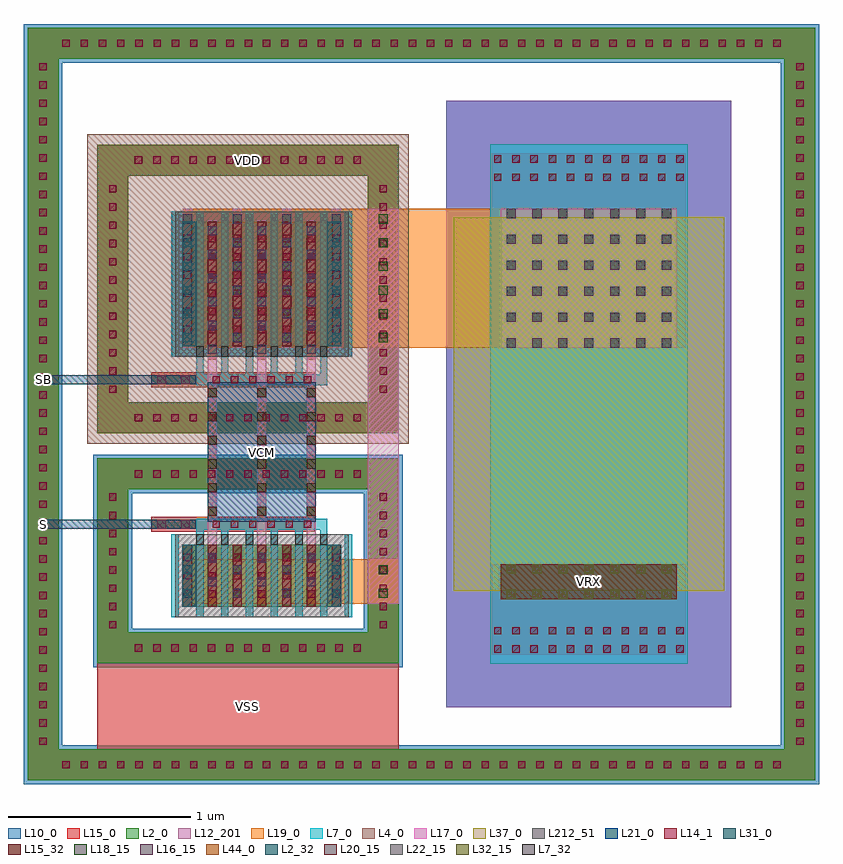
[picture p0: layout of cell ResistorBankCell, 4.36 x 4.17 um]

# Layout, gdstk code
import gdstk
lib = gdstk.Library(unit=1e-6, precision=1e-09)
def R(c, l, rs):  # rectangles x0, y0, x1, y1
    for r in rs: c.add(gdstk.rectangle(r[:2], r[2:], *l))
def A(c, l, x, y, w, h, nx, ny, dx, dy):  # array of equal rectangles
    R(c, l, [(x+i*dx, y+j*dy, x+i*dx+w, y+j*dy+h) for i in range(nx) for j in range(ny)])
L2_0 = (2, 0)
L2_32 = (2, 32)
L4_0 = (4, 0)
L7_0 = (7, 0)
L7_32 = (7, 32)
L10_0 = (10, 0)
L12_201 = (12, 201)
L14_1 = (14, 1)
L15_0 = (15, 0)
L15_32 = (15, 32)
L16_15 = (16, 15)
L17_0 = (17, 0)
L18_15 = (18, 15)
L19_0 = (19, 0)
L20_15 = (20, 15)
L21_0 = (21, 0)
L22_15 = (22, 15)
L31_0 = (31, 0)
L32_15 = (32, 15)
L37_0 = (37, 0)
L44_0 = (44, 0)
L212_51 = (212, 51)

nmosintransmissiongate = lib.new_cell('NMOSInTransmissionGate')
R(nmosintransmissiongate, L2_0, [(-0.436,-0.171,0.436,0.171)])
R(nmosintransmissiongate, L2_32, [(-0.436,-0.171,-0.36,0.171), (0.36,-0.171,0.436,0.171)])
A(nmosintransmissiongate, L7_0, -0.496, -0.228, 0.04, 0.456, 8, 1, 0.136, 0)
A(nmosintransmissiongate, L7_32, -0.36, -0.228, 0.04, 0.057, 6, 1, 0.136, 0)
A(nmosintransmissiongate, L14_1, -0.428, -0.12, 0.04, 0.04, 7, 3, 0.136, 0.1)
A(nmosintransmissiongate, L15_0, -0.433, -0.171, 0.05, 0.342, 7, 1, 0.136, 0)
A(nmosintransmissiongate, L15_32, -0.433, -0.171, 0.05, 0.342, 7, 1, 0.136, 0)
R(nmosintransmissiongate, L212_51, [(-0.476,-0.227,0.476,0.227)])

pmosintransmissiongate = lib.new_cell('PMOSInTransmissionGate')
R(pmosintransmissiongate, L2_0, [(-0.436,-0.342,0.436,0.342)])
R(pmosintransmissiongate, L2_32, [(-0.436,-0.342,-0.36,0.342), (0.36,-0.342,0.436,0.342)])
A(pmosintransmissiongate, L7_0, -0.496, -0.399, 0.04, 0.798, 8, 1, 0.136, 0)
A(pmosintransmissiongate, L7_32, -0.36, -0.399, 0.04, 0.057, 6, 1, 0.136, 0)
R(pmosintransmissiongate, L10_0, [(-0.492,-0.399,0.492,0.399)])
A(pmosintransmissiongate, L14_1, -0.428, -0.27, 0.04, 0.04, 7, 6, 0.136, 0.1)
A(pmosintransmissiongate, L15_0, -0.433, -0.342, 0.05, 0.684, 7, 1, 0.136, 0)
A(pmosintransmissiongate, L15_32, -0.433, -0.342, 0.05, 0.684, 7, 1, 0.136, 0)
R(pmosintransmissiongate, L212_51, [(-0.476,-0.398,0.476,0.398)])

viamet12met2onpmosoutput = lib.new_cell('ViaMet12Met2OnPMOSOutputInTransmissionGate')
R(viamet12met2onpmosoutput, L15_0, [(-0.025,-0.382,0.025,0.382)])
A(viamet12met2onpmosoutput, L16_15, -0.025, -0.35, 0.05, 0.05, 1, 6, 0, 0.13)
R(viamet12met2onpmosoutput, L17_0, [(-0.025,-0.382,0.025,0.382)])

viamet22met3onpmosoutput = lib.new_cell('ViaMet22Met3OnPMOSOutputInTransmissionGate')
R(viamet22met3onpmosoutput, L17_0, [(-0.025,-0.382,0.025,0.382)])
A(viamet22met3onpmosoutput, L18_15, -0.025, -0.35, 0.05, 0.05, 1, 6, 0, 0.13)
R(viamet22met3onpmosoutput, L19_0, [(-0.025,-0.382,0.025,0.382)])

viamet12met2onnmosoutput = lib.new_cell('ViaMet12Met2OnNMOSOutputInTransmissionGate')
R(viamet12met2onnmosoutput, L15_0, [(-0.025,-0.122,0.025,0.122)])
R(viamet12met2onnmosoutput, L16_15, [(-0.025,-0.09,0.025,-0.04), (-0.025,0.04,0.025,0.09)])
R(viamet12met2onnmosoutput, L17_0, [(-0.025,-0.122,0.025,0.122)])

viamet22met3onnmosoutput = lib.new_cell('ViaMet22Met3OnNMOSOutputInTransmissionGate')
R(viamet22met3onnmosoutput, L17_0, [(-0.025,-0.122,0.025,0.122)])
R(viamet22met3onnmosoutput, L18_15, [(-0.025,-0.09,0.025,-0.04), (-0.025,0.04,0.025,0.09)])
R(viamet22met3onnmosoutput, L19_0, [(-0.025,-0.122,0.025,0.122)])

viapoly2met1onpmoscontro = lib.new_cell('ViaPoly2Met1OnPMOSControlInTransmissionGate')
R(viapoly2met1onpmoscontro, L7_0, [(-0.28,-0.03,0.28,0.03)])
A(viapoly2met1onpmoscontro, L14_1, -0.27, -0.02, 0.04, 0.04, 6, 1, 0.1, 0)
R(viapoly2met1onpmoscontro, L15_0, [(-0.291,-0.041,0.291,0.041)])

viapoly2met1onnmoscontro = lib.new_cell('ViaPoly2Met1OnNMOSControlInTransmissionGate')
R(viapoly2met1onnmoscontro, L7_0, [(-0.28,-0.03,0.28,0.03)])
A(viapoly2met1onnmoscontro, L14_1, -0.27, -0.02, 0.04, 0.04, 6, 1, 0.1, 0)
R(viapoly2met1onnmoscontro, L15_0, [(-0.291,-0.041,0.291,0.041)])

transmissiongateinresist = lib.new_cell('TransmissionGateInResistorBank')
transmissiongateinresist.add(gdstk.FlexPath([(-0.34,0.396),(-0.34,0.708)], 0.04, ends="flush", simple_path=True, layer=7, datatype=0))  # L7_0
transmissiongateinresist.add(gdstk.FlexPath([(-0.204,0.396),(-0.204,0.708)], 0.04, ends="flush", simple_path=True, layer=7, datatype=0))  # L7_0
transmissiongateinresist.add(gdstk.FlexPath([(-0.068,0.396),(-0.068,0.708)], 0.04, ends="flush", simple_path=True, layer=7, datatype=0))  # L7_0
transmissiongateinresist.add(gdstk.FlexPath([(0.068,0.396),(0.068,0.708)], 0.04, ends="flush", simple_path=True, layer=7, datatype=0))  # L7_0
transmissiongateinresist.add(gdstk.FlexPath([(0.204,0.396),(0.204,0.708)], 0.04, ends="flush", simple_path=True, layer=7, datatype=0))  # L7_0
transmissiongateinresist.add(gdstk.FlexPath([(0.34,0.396),(0.34,0.708)], 0.04, ends="flush", simple_path=True, layer=7, datatype=0))  # L7_0
transmissiongateinresist.add(gdstk.FlexPath([(-0.34,1.996),(-0.34,1.441)], 0.04, ends="flush", simple_path=True, layer=7, datatype=0))  # L7_0
transmissiongateinresist.add(gdstk.FlexPath([(-0.204,1.996),(-0.204,1.441)], 0.04, ends="flush", simple_path=True, layer=7, datatype=0))  # L7_0
transmissiongateinresist.add(gdstk.FlexPath([(-0.068,1.996),(-0.068,1.441)], 0.04, ends="flush", simple_path=True, layer=7, datatype=0))  # L7_0
transmissiongateinresist.add(gdstk.FlexPath([(0.068,1.996),(0.068,1.441)], 0.04, ends="flush", simple_path=True, layer=7, datatype=0))  # L7_0
transmissiongateinresist.add(gdstk.FlexPath([(0.204,1.996),(0.204,1.441)], 0.04, ends="flush", simple_path=True, layer=7, datatype=0))  # L7_0
transmissiongateinresist.add(gdstk.FlexPath([(0.34,1.996),(0.34,1.441)], 0.04, ends="flush", simple_path=True, layer=7, datatype=0))  # L7_0
transmissiongateinresist.add(gdstk.FlexPath([(-0.34,0.678),(0.34,0.678)], 0.06, ends="flush", simple_path=True, layer=7, datatype=0))  # L7_0
transmissiongateinresist.add(gdstk.FlexPath([(-0.34,1.471),(0.34,1.471)], 0.06, ends="flush", simple_path=True, layer=7, datatype=0))  # L7_0
transmissiongateinresist.add(gdstk.Reference(nmosintransmissiongate, (0,0.396), x_reflection=True))
transmissiongateinresist.add(gdstk.Reference(pmosintransmissiongate, (0,1.996)))
transmissiongateinresist.add(gdstk.Reference(viamet12met2onpmosoutput, (-0.272,1.964)))
transmissiongateinresist.add(gdstk.Reference(viamet12met2onpmosoutput, (0,1.964)))
transmissiongateinresist.add(gdstk.Reference(viamet12met2onpmosoutput, (0.272,1.964)))
transmissiongateinresist.add(gdstk.Reference(viamet12met2onpmosoutput, (-0.408,2.028)))
transmissiongateinresist.add(gdstk.Reference(viamet12met2onpmosoutput, (-0.136,2.028)))
transmissiongateinresist.add(gdstk.Reference(viamet12met2onpmosoutput, (0.136,2.028)))
transmissiongateinresist.add(gdstk.Reference(viamet12met2onpmosoutput, (0.408,2.028)))
transmissiongateinresist.add(gdstk.Reference(viamet22met3onpmosoutput, (-0.408,2.028)))
transmissiongateinresist.add(gdstk.Reference(viamet22met3onpmosoutput, (-0.136,2.028)))
transmissiongateinresist.add(gdstk.Reference(viamet22met3onpmosoutput, (0.136,2.028)))
transmissiongateinresist.add(gdstk.Reference(viamet22met3onpmosoutput, (0.408,2.028)))
transmissiongateinresist.add(gdstk.Reference(viamet12met2onnmosoutput, (-0.272,0.428)))
transmissiongateinresist.add(gdstk.Reference(viamet12met2onnmosoutput, (0,0.428)))
transmissiongateinresist.add(gdstk.Reference(viamet12met2onnmosoutput, (0.272,0.428)))
transmissiongateinresist.add(gdstk.Reference(viamet12met2onnmosoutput, (-0.408,0.364)))
transmissiongateinresist.add(gdstk.Reference(viamet12met2onnmosoutput, (-0.136,0.364)))
transmissiongateinresist.add(gdstk.Reference(viamet12met2onnmosoutput, (0.136,0.364)))
transmissiongateinresist.add(gdstk.Reference(viamet12met2onnmosoutput, (0.408,0.364)))
transmissiongateinresist.add(gdstk.Reference(viamet22met3onnmosoutput, (-0.408,0.364)))
transmissiongateinresist.add(gdstk.Reference(viamet22met3onnmosoutput, (-0.136,0.364)))
transmissiongateinresist.add(gdstk.Reference(viamet22met3onnmosoutput, (0.136,0.364)))
transmissiongateinresist.add(gdstk.Reference(viamet22met3onnmosoutput, (0.408,0.364)))
transmissiongateinresist.add(gdstk.Reference(viapoly2met1onpmoscontro, (0,1.471)))
transmissiongateinresist.add(gdstk.Reference(viapoly2met1onnmoscontro, (0,0.678)))

viamet12met2oninputinres = lib.new_cell('ViaMet12Met2OnInputInResistorBank')
R(viamet12met2oninputinres, L15_0, [(-0.122,-0.025,0.122,0.025)])
R(viamet12met2oninputinres, L16_15, [(-0.09,-0.025,-0.04,0.025), (0.04,-0.025,0.09,0.025)])
R(viamet12met2oninputinres, L17_0, [(-0.122,-0.025,0.122,0.025)])

viamet22met3oninputinres = lib.new_cell('ViaMet22Met3OnInputInResistorBank')
R(viamet22met3oninputinres, L17_0, [(-0.122,-0.025,0.122,0.025)])
R(viamet22met3oninputinres, L18_15, [(-0.09,-0.025,-0.04,0.025), (0.04,-0.025,0.09,0.025)])
R(viamet22met3oninputinres, L19_0, [(-0.122,-0.025,0.122,0.025)])

viamet32met4oninputinres = lib.new_cell('ViaMet32Met4OnInputInResistorBank')
R(viamet32met4oninputinres, L19_0, [(-0.122,-0.025,0.122,0.025)])
R(viamet32met4oninputinres, L20_15, [(-0.09,-0.025,-0.04,0.025), (0.04,-0.025,0.09,0.025)])
R(viamet32met4oninputinres, L21_0, [(-0.122,-0.025,0.122,0.025)])

viamet42met5oninputinres = lib.new_cell('ViaMet42Met5OnInputInResistorBank')
R(viamet42met5oninputinres, L21_0, [(-0.122,-0.025,0.122,0.025)])
R(viamet42met5oninputinres, L22_15, [(-0.09,-0.025,-0.04,0.025), (0.04,-0.025,0.09,0.025)])
R(viamet42met5oninputinres, L31_0, [(-0.122,-0.025,0.122,0.025)])

opppcresinresistorbank = lib.new_cell('OpppcresInResistorBank')
R(opppcresinresistorbank, L7_0, [(-0.542,-1.424,0.542,1.424)])
R(opppcresinresistorbank, L10_0, [(-0.782,-1.664,0.782,1.664)])
R(opppcresinresistorbank, L12_201, [(-0.782,-1.664,0.782,1.664)])
A(opppcresinresistorbank, L14_1, -0.52, -1.364, 0.04, 0.04, 11, 2, 0.1, 0.1)
A(opppcresinresistorbank, L14_1, -0.52, 1.224, 0.04, 0.04, 11, 2, 0.1, 0.1)
R(opppcresinresistorbank, L15_0, [(-0.532,-1.376,0.532,-1.212), (-0.532,1.212,0.532,1.376)])
R(opppcresinresistorbank, L37_0, [(-0.742,-1.024,0.742,1.024)])

pmossubringinresistorban = lib.new_cell('PMOSSubringInResistorBank')
R(pmossubringinresistorban, L2_0, [(-0.827,-0.792,0.827,-0.622), (-0.827,-0.792,-0.657,0.792), (0.657,-0.792,0.827,0.792), (-0.827,0.622,0.827,0.792)])
A(pmossubringinresistorban, L14_1, -0.62, -0.727, 0.04, 0.04, 13, 2, 0.1, 1.414)
A(pmossubringinresistorban, L14_1, -0.762, -0.57, 0.04, 0.04, 1, 12, 0, 0.1)
A(pmossubringinresistorban, L14_1, 0.722, -0.57, 0.04, 0.04, 1, 12, 0, 0.1)
R(pmossubringinresistorban, L15_0, [(-0.827,-0.792,0.827,-0.622), (-0.827,-0.792,-0.657,0.792), (0.657,-0.792,0.827,0.792), (-0.827,0.622,0.827,0.792)])
pmossubringinresistorban.add(gdstk.FlexPath([(0.742,0.848),(0.742,-0.707),(-0.742,-0.707),(-0.742,0.707),(0.883,0.707)], 0.282, ends="flush", simple_path=True, layer=4, datatype=0))  # L4_0

nmossubringinresistorban = lib.new_cell('NMOSSubringInResistorBank')
R(nmossubringinresistorban, L2_0, [(-0.827,-0.562,0.827,-0.392), (-0.827,-0.562,-0.657,0.562), (0.657,-0.562,0.827,0.562), (-0.827,0.392,0.827,0.562)])
A(nmossubringinresistorban, L14_1, -0.62, -0.497, 0.04, 0.04, 13, 2, 0.1, 0.954)
A(nmossubringinresistorban, L14_1, -0.762, -0.37, 0.04, 0.04, 1, 8, 0, 0.1)
A(nmossubringinresistorban, L14_1, 0.722, -0.37, 0.04, 0.04, 1, 8, 0, 0.1)
R(nmossubringinresistorban, L15_0, [(-0.827,-0.562,0.827,-0.392), (-0.827,-0.562,-0.657,0.562), (0.657,-0.562,0.827,0.562), (-0.827,0.392,0.827,0.562)])
nmossubringinresistorban.add(gdstk.FlexPath([(0.742,0.583),(0.742,-0.477),(-0.742,-0.477),(-0.742,0.477),(0.848,0.477)], 0.212, ends="flush", simple_path=True, layer=10, datatype=0))  # L10_0

totalsubringinresistorba = lib.new_cell('TotalSubringInResistorBank')
R(totalsubringinresistorba, L2_0, [(-2.161,-2.064,2.161,-1.894), (-2.161,-2.064,-1.991,2.064), (1.991,-2.064,2.161,2.064), (-2.161,1.894,2.161,2.064)])
A(totalsubringinresistorba, L14_1, -1.97, -1.999, 0.04, 0.04, 40, 2, 0.1, 3.958)
A(totalsubringinresistorba, L14_1, -2.096, -1.87, 0.04, 0.04, 1, 38, 0, 0.1)
A(totalsubringinresistorba, L14_1, 2.056, -1.87, 0.04, 0.04, 1, 38, 0, 0.1)
R(totalsubringinresistorba, L15_0, [(-2.161,-2.064,2.161,-1.894), (-2.161,-2.064,-1.991,2.064), (1.991,-2.064,2.161,2.064), (-2.161,1.894,2.161,2.064)])
totalsubringinresistorba.add(gdstk.FlexPath([(2.076,2.085),(2.076,-1.979),(-2.076,-1.979),(-2.076,1.979),(2.182,1.979)], 0.212, ends="flush", simple_path=True, layer=10, datatype=0))  # L10_0

viamet12met2onresistorin = lib.new_cell('ViaMet12Met2OnResistorInResistorBank')
R(viamet12met2onresistorin, L15_0, [(-0.483,-0.38,0.483,0.38)])
A(viamet12met2onresistorin, L16_15, -0.451, -0.38, 0.05, 0.05, 7, 6, 0.142, 0.142)
R(viamet12met2onresistorin, L17_0, [(-0.483,-0.38,0.483,0.38)])

viamet12met2onresistor1i = lib.new_cell('ViaMet12Met2OnResistor1InResistorBank')
R(viamet12met2onresistor1i, L15_0, [(-0.483,-0.096,0.483,0.096)])
A(viamet12met2onresistor1i, L16_15, -0.451, -0.096, 0.05, 0.05, 7, 2, 0.142, 0.142)
R(viamet12met2onresistor1i, L17_0, [(-0.483,-0.096,0.483,0.096)])

viamet22met3onresistorin = lib.new_cell('ViaMet22Met3OnResistorInResistorBank')
R(viamet22met3onresistorin, L17_0, [(-0.483,-0.38,0.483,0.38)])
A(viamet22met3onresistorin, L18_15, -0.451, -0.38, 0.05, 0.05, 7, 6, 0.142, 0.142)
R(viamet22met3onresistorin, L19_0, [(-0.483,-0.38,0.483,0.38)])

viamet22met3onresistor1i = lib.new_cell('ViaMet22Met3OnResistor1InResistorBank')
R(viamet22met3onresistor1i, L17_0, [(-0.483,-0.096,0.483,0.096)])
A(viamet22met3onresistor1i, L18_15, -0.451, -0.096, 0.05, 0.05, 7, 2, 0.142, 0.142)
R(viamet22met3onresistor1i, L19_0, [(-0.483,-0.096,0.483,0.096)])

viamet32met4onresistorin = lib.new_cell('ViaMet32Met4OnResistorInResistorBank')
R(viamet32met4onresistorin, L19_0, [(-0.483,-0.096,0.483,0.096)])
A(viamet32met4onresistorin, L20_15, -0.451, -0.096, 0.05, 0.05, 7, 2, 0.142, 0.142)
R(viamet32met4onresistorin, L21_0, [(-0.483,-0.096,0.483,0.096)])

viamet42met5onresistorin = lib.new_cell('ViaMet42Met5OnResistorInResistorBank')
R(viamet42met5onresistorin, L21_0, [(-0.483,-0.096,0.483,0.096)])
A(viamet42met5onresistorin, L22_15, -0.451, -0.096, 0.05, 0.05, 7, 2, 0.142, 0.142)
R(viamet42met5onresistorin, L31_0, [(-0.483,-0.096,0.483,0.096)])

viamet52met6onresistorin = lib.new_cell('ViaMet52Met6OnResistorInResistorBank')
R(viamet52met6onresistorin, L31_0, [(-0.483,-0.096,0.483,0.096)])
A(viamet52met6onresistorin, L32_15, -0.451, -0.096, 0.05, 0.05, 7, 2, 0.142, 0.142)
R(viamet52met6onresistorin, L44_0, [(-0.483,-0.096,0.483,0.096)])

viavcmmet22met3inresisto = lib.new_cell('ViaVCMMet22Met3InResistorBank')
R(viavcmmet22met3inresisto, L17_0, [(-0.025,-0.382,0.025,0.382)])
A(viavcmmet22met3inresisto, L18_15, -0.025, -0.35, 0.05, 0.05, 1, 6, 0, 0.13)
R(viavcmmet22met3inresisto, L19_0, [(-0.025,-0.382,0.025,0.382)])

viavcmmet32met4inresisto = lib.new_cell('ViaVCMMet32Met4InResistorBank')
R(viavcmmet32met4inresisto, L19_0, [(-0.025,-0.382,0.025,0.382)])
A(viavcmmet32met4inresisto, L20_15, -0.025, -0.35, 0.05, 0.05, 1, 6, 0, 0.13)
R(viavcmmet32met4inresisto, L21_0, [(-0.025,-0.382,0.025,0.382)])

viatgpmos2resmet22met3in = lib.new_cell('ViaTGPMOS2ResMet22Met3InResistorBank')
R(viatgpmos2resmet22met3in, L17_0, [(-0.057,-0.35,0.057,0.35)])
A(viatgpmos2resmet22met3in, L18_15, -0.025, -0.35, 0.05, 0.05, 1, 6, 0, 0.13)
R(viatgpmos2resmet22met3in, L19_0, [(-0.057,-0.35,0.057,0.35)])

viatgnmos2resmet22met3in = lib.new_cell('ViaTGNMOS2ResMet22Met3InResistorBank')
R(viatgnmos2resmet22met3in, L17_0, [(-0.057,-0.09,0.057,0.09)])
R(viatgnmos2resmet22met3in, L18_15, [(-0.025,-0.09,0.025,-0.04), (-0.025,0.04,0.025,0.09)])
R(viatgnmos2resmet22met3in, L19_0, [(-0.057,-0.09,0.057,0.09)])

resistorbankcell = lib.new_cell('ResistorBankCell')
R(resistorbankcell, L15_0, [(-0.903,-0.726,0.751,0.084)])
A(resistorbankcell, L17_0, -0.297, 0.306, 0.05, 2.04, 3, 1, 0.272, 0)
R(resistorbankcell, L21_0, [(-0.272,0.692,0.272,1.456)])
resistorbankcell.add(gdstk.FlexPath([(-0.485,1.471),(-1.2,1.471)], 0.05, ends="flush", simple_path=True, layer=31, datatype=0))  # L31_0
resistorbankcell.add(gdstk.FlexPath([(-0.485,0.678),(-1.2,0.678)], 0.05, ends="flush", simple_path=True, layer=31, datatype=0))  # L31_0
resistorbankcell.add(gdstk.FlexPath([(-0.733,1.969),(0.581,1.969)], 1.244, ends="flush", simple_path=True, layer=4, datatype=0))  # L4_0
resistorbankcell.add(gdstk.FlexPath([(-0.607,1.471),(0,1.471)], 0.082, ends="flush", simple_path=True, layer=15, datatype=0))  # L15_0
resistorbankcell.add(gdstk.FlexPath([(-0.607,0.678),(0,0.678)], 0.082, ends="flush", simple_path=True, layer=15, datatype=0))  # L15_0
resistorbankcell.add(gdstk.FlexPath([(1.794,1.648),(1.794,2.714)], 1.064, ends="flush", simple_path=True, layer=15, datatype=0))  # L15_0
resistorbankcell.add(gdstk.FlexPath([(1.794,0.46),(1.794,-0.038)], 1.064, ends="flush", simple_path=True, layer=15, datatype=0))  # L15_0
resistorbankcell.add(gdstk.FlexPath([(-0.408,2.028),(2.277,2.028)], 0.764, ends="flush", simple_path=True, layer=19, datatype=0))  # L19_0
resistorbankcell.add(gdstk.FlexPath([(-0.408,0.364),(0.751,0.364)], 0.244, ends="flush", simple_path=True, layer=19, datatype=0))  # L19_0
resistorbankcell.add(gdstk.FlexPath([(0.666,2.41),(0.666,0.242)], 0.17, ends="flush", simple_path=True, layer=17, datatype=0))  # L17_0
resistorbankcell.add(gdstk.Reference(transmissiongateinresist, (0,0)))
resistorbankcell.add(gdstk.Reference(viamet12met2oninputinres, (-0.485,1.471)))
resistorbankcell.add(gdstk.Reference(viamet12met2oninputinres, (-0.485,0.678)))
resistorbankcell.add(gdstk.Reference(viamet22met3oninputinres, (-0.485,1.471)))
resistorbankcell.add(gdstk.Reference(viamet22met3oninputinres, (-0.485,0.678)))
resistorbankcell.add(gdstk.Reference(viamet32met4oninputinres, (-0.485,1.471)))
resistorbankcell.add(gdstk.Reference(viamet32met4oninputinres, (-0.485,0.678)))
resistorbankcell.add(gdstk.Reference(viamet42met5oninputinres, (-0.485,1.471)))
resistorbankcell.add(gdstk.Reference(viamet42met5oninputinres, (-0.485,0.678)))
resistorbankcell.add(gdstk.Reference(opppcresinresistorbank, (1.794,1.338)))
resistorbankcell.add(gdstk.Reference(pmossubringinresistorban, (-0.076,1.969)))
resistorbankcell.add(gdstk.Reference(nmossubringinresistorban, (-0.076,0.477)))
resistorbankcell.add(gdstk.Reference(totalsubringinresistorba, (0.876,1.338)))
resistorbankcell.add(gdstk.Reference(viamet12met2onresistorin, (1.794,2.028)))
resistorbankcell.add(gdstk.Reference(viamet12met2onresistor1i, (1.794,0.364)))
resistorbankcell.add(gdstk.Reference(viamet22met3onresistorin, (1.794,2.028)))
resistorbankcell.add(gdstk.Reference(viamet22met3onresistor1i, (1.794,0.364)))
resistorbankcell.add(gdstk.Reference(viamet32met4onresistorin, (1.794,0.364)))
resistorbankcell.add(gdstk.Reference(viamet42met5onresistorin, (1.794,0.364)))
resistorbankcell.add(gdstk.Reference(viamet52met6onresistorin, (1.794,0.364)))
resistorbankcell.add(gdstk.Reference(viavcmmet22met3inresisto, (-0.272,1.074)))
resistorbankcell.add(gdstk.Reference(viavcmmet22met3inresisto, (0,1.074)))
resistorbankcell.add(gdstk.Reference(viavcmmet22met3inresisto, (0.272,1.074)))
resistorbankcell.add(gdstk.Reference(viavcmmet32met4inresisto, (-0.272,1.074)))
resistorbankcell.add(gdstk.Reference(viavcmmet32met4inresisto, (0,1.074)))
resistorbankcell.add(gdstk.Reference(viavcmmet32met4inresisto, (0.272,1.074)))
resistorbankcell.add(gdstk.Reference(viatgpmos2resmet22met3in, (0.666,2.028)))
resistorbankcell.add(gdstk.Reference(viatgnmos2resmet22met3in, (0.666,0.364)))
resistorbankcell.add(gdstk.Label('VDD', (-0.076,2.676), layer=15, texttype=20))
resistorbankcell.add(gdstk.Label('VSS', (-0.076,-0.321), layer=15, texttype=20))
resistorbankcell.add(gdstk.Label('S', (-1.2,0.678), layer=31, texttype=20))
resistorbankcell.add(gdstk.Label('SB', (-1.2,1.471), layer=31, texttype=20))
resistorbankcell.add(gdstk.Label('VRX', (1.794,0.364), layer=44, texttype=20))
resistorbankcell.add(gdstk.Label('VCM', (0,1.074), layer=21, texttype=20))

lib.write_gds('ResistorBankCell.gds')
